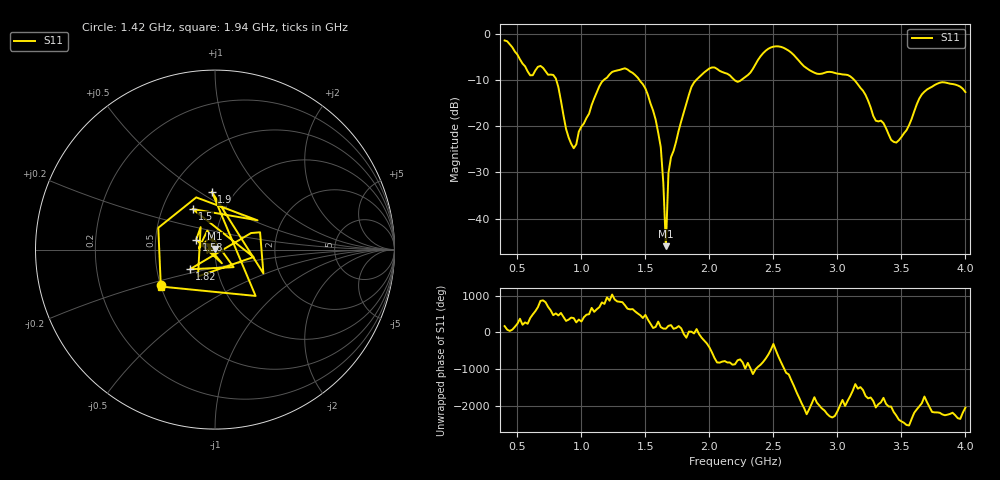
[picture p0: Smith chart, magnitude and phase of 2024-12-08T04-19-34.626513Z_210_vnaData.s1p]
!Created with skrf (http://scikit-rf.org).
# Hz S RI R 50.0
!freq ReS11 ImS11
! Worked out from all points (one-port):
!   181 points, 400 MHz to 4 GHz, reference 50 ohm
!   lowest |S11| = -46.0 dB at 1.66 GHz (marker M1), VSWR 1.01, Z = 49.9 + j0.485 ohm
!   |S11| at or under -10 dB: 804.5 MHz to 1.172 GHz (367.4 MHz wide, 37.2 % of centre); 1.455 GHz to 1.894 GHz (439.3 MHz wide, 26.2 % of centre); 3.135 GHz to end of sweep (the widest 3 of 4)
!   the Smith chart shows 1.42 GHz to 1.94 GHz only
!   S11 on the Smith chart (normalised r, x): 1.42 GHz: 0.50, -0.23; 1.5 GHz: 0.71, +0.34; 1.58 GHz: 0.81, +0.09; 1.82 GHz: 0.74, -0.17; 1.9 GHz: 0.79, +0.57; 1.94 GHz: 0.50, -0.24
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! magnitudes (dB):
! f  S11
! 400 MHz  -1.3
! 600 MHz  -8.9
! 780 MHz  -8.8
! 860 MHz  -17.6
! 940 MHz  -24.7
! 1.16 GHz  -10.3
! 1.3 GHz  -7.7
! 1.42 GHz  -8.8
! 1.5 GHz  -11.8
! 1.58 GHz  -18.5
! 1.62 GHz  -24.5
! 1.64 GHz  -32.3
! 1.66 GHz  -46.0
! 1.68 GHz  -30.1
! 1.76 GHz  -20.9
! 1.82 GHz  -15.0
! 1.9 GHz  -9.8
! 1.94 GHz  -8.8
! 2.2 GHz  -10.0
! 2.48 GHz  -2.8
! 2.66 GHz  -4.5
! 2.84 GHz  -8.5
! 3.1 GHz  -9.1
! 3.42 GHz  -22.9
! 3.56 GHz  -19.7
! 3.66 GHz  -13.0
! 3.76 GHz  -11.0
! 4 GHz  -12.5
